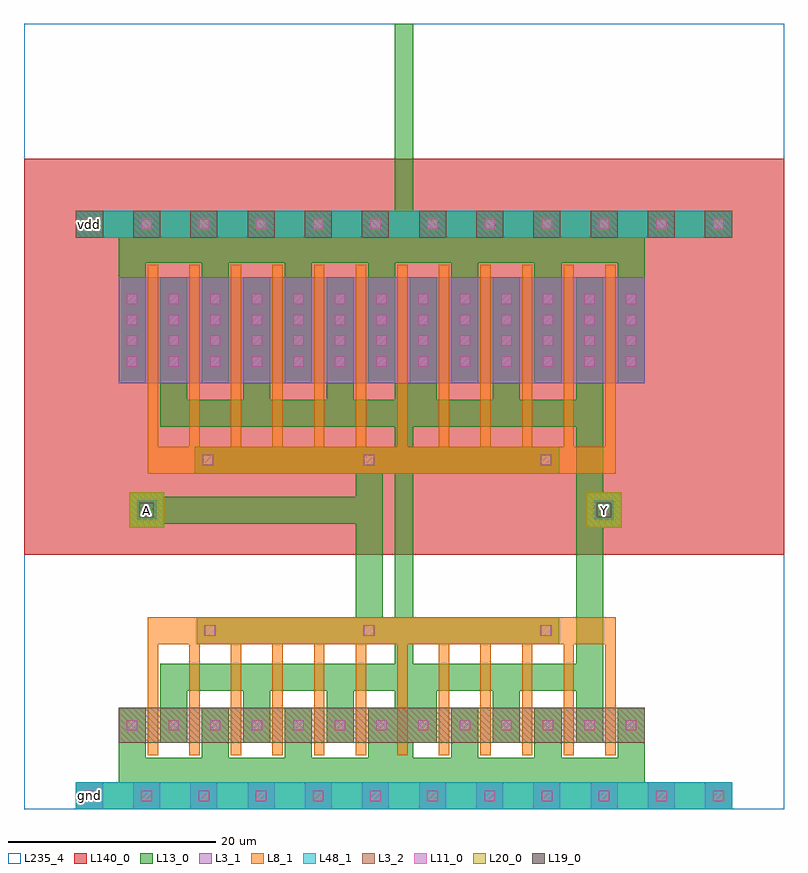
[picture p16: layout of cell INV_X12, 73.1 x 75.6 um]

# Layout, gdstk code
import gdstk
lib = gdstk.Library(unit=1e-6, precision=1e-09)
def R(c, l, rs):  # rectangles x0, y0, x1, y1
    for r in rs: c.add(gdstk.rectangle(r[:2], r[2:], *l))
def A(c, l, x, y, w, h, nx, ny, dx, dy):  # array of equal rectangles
    R(c, l, [(x+i*dx, y+j*dy, x+i*dx+w, y+j*dy+h) for i in range(nx) for j in range(ny)])
def P(c, l, *ps):  # polygons
    for p in ps: c.add(gdstk.Polygon(p, *l))
L3_1 = (3, 1)
L3_2 = (3, 2)
L8_1 = (8, 1)
L11_0 = (11, 0)
L13_0 = (13, 0)
L19_0 = (19, 0)
L20_0 = (20, 0)
L48_1 = (48, 1)
L140_0 = (140, 0)
L235_4 = (235, 4)

inv_x12 = lib.new_cell('INV_X12')
A(inv_x12, L3_1, 5, 0, 2.6, 2.6, 12, 1, 5.5, 0)
R(inv_x12, L3_1, [(9.1,41,59.7,51.2)])
A(inv_x12, L3_2, 5, 55, 2.6, 2.6, 12, 1, 5.5, 0)
R(inv_x12, L3_2, [(9.1,6.4,59.7,9.8)])
P(inv_x12, L8_1, [(11.9,5.2),(11.9,18.5),(56.9,18.5),(56.9,5.2),(55.9,5.2),(55.9,15.9),(52.9,15.9),(52.9,5.2),(51.9,5.2),(51.9,15.9),(48.9,15.9),(48.9,5.2),(47.9,5.2),(47.9,15.9),(44.9,15.9),(44.9,5.2),(43.9,5.2),(43.9,15.9),(40.9,15.9),(40.9,5.2),(39.9,5.2),(39.9,15.9),(36.9,15.9),(36.9,5.2),(35.9,5.2),(35.9,15.9),(32.9,15.9),(32.9,5.2),(31.9,5.2),(31.9,15.9),(28.9,15.9),(28.9,5.2),(27.9,5.2),(27.9,15.9),(24.9,15.9),(24.9,5.2),(23.9,5.2),(23.9,15.9),(20.9,15.9),(20.9,5.2),(19.9,5.2),(19.9,15.9),(16.9,15.9),(16.9,5.2),(15.9,5.2),(15.9,15.9),(12.9,15.9),(12.9,5.2)],
  [(11.9,32.3),(11.9,52.4),(12.9,52.4),(12.9,34.9),(15.9,34.9),(15.9,52.4),(16.9,52.4),(16.9,34.9),(19.9,34.9),(19.9,52.4),(20.9,52.4),(20.9,34.9),(23.9,34.9),(23.9,52.4),(24.9,52.4),(24.9,34.9),(27.9,34.9),(27.9,52.4),(28.9,52.4),(28.9,34.9),(31.9,34.9),(31.9,52.4),(32.9,52.4),(32.9,34.9),(35.9,34.9),(35.9,52.4),(36.9,52.4),(36.9,34.9),(39.9,34.9),(39.9,52.4),(40.9,52.4),(40.9,34.9),(43.9,34.9),(43.9,52.4),(44.9,52.4),(44.9,34.9),(47.9,34.9),(47.9,52.4),(48.9,52.4),(48.9,34.9),(51.9,34.9),(51.9,52.4),(52.9,52.4),(52.9,34.9),(55.9,34.9),(55.9,52.4),(56.9,52.4),(56.9,32.3)])
A(inv_x12, L11_0, 5.8, 0.8, 1, 1, 12, 2, 5.5, 55)
A(inv_x12, L11_0, 9.9, 7.6, 1, 1, 13, 2, 4, 35)
A(inv_x12, L11_0, 9.9, 44.6, 1, 1, 13, 3, 4, 2)
R(inv_x12, L11_0, [(17.4,16.7,18.4,17.7), (32.7,16.7,33.7,17.7), (49.7,16.7,50.7,17.7), (17.2,33.1,18.2,34.1), (32.7,33.1,33.7,34.1), (49.7,33.1,50.7,34.1)])
P(inv_x12, L13_0, [(5,0),(5,2.6),(9.1,2.6),(9.1,9.8),(11.7,9.8),(11.7,5),(17.1,5),(17.1,9.8),(19.7,9.8),(19.7,5),(25.1,5),(25.1,9.8),(27.7,9.8),(27.7,5),(33.1,5),(33.1,9.8),(35.65,9.8),(35.65,11.4),(31.7,11.4),(31.7,6.4),(29.1,6.4),(29.1,11.4),(23.7,11.4),(23.7,6.4),(21.1,6.4),(21.1,11.4),(15.7,11.4),(15.7,6.4),(13.1,6.4),(13.1,14),(35.65,14),(35.65,15.9),(16.6,15.9),(16.6,18.5),(31.9,18.5),(31.9,27.5),(13.5,27.5),(13.5,27.1),(10.1,27.1),(10.1,30.5),(13.5,30.5),(13.5,30.1),(31.9,30.1),(31.9,32.3),(34.5,32.3),(34.5,18.5),(35.65,18.5),(35.65,32.3),(16.4,32.3),(16.4,34.9),(35.65,34.9),(35.65,36.8),(37.45,36.8),(37.45,34.9),(51.5,34.9),(51.5,32.3),(37.45,32.3),(37.45,18.5),(51.5,18.5),(51.5,15.9),(37.45,15.9),(37.45,14),(53.1,14),(53.1,36.8),(13.1,36.8),(13.1,51.2),(15.7,51.2),(15.7,39.4),(21.1,39.4),(21.1,51.2),(23.7,51.2),(23.7,39.4),(29.1,39.4),(29.1,51.2),(31.7,51.2),(31.7,39.4),(35.65,39.4),(35.65,41),(33.1,41),(33.1,52.6),(27.7,52.6),(27.7,41),(25.1,41),(25.1,52.6),(19.7,52.6),(19.7,41),(17.1,41),(17.1,52.6),(11.7,52.6),(11.7,41),(9.1,41),(9.1,55),(5,55),(5,57.6),(35.65,57.6),(35.65,75.6),(37.45,75.6),(37.45,57.6),(68.1,57.6),(68.1,55),(59.7,55),(59.7,41),(57.1,41),(57.1,52.6),(51.7,52.6),(51.7,41),(49.1,41),(49.1,52.6),(43.7,52.6),(43.7,41),(41.1,41),(41.1,52.6),(35.7,52.6),(35.7,41),(37.1,41),(37.1,51.2),(39.7,51.2),(39.7,39.4),(45.1,39.4),(45.1,51.2),(47.7,51.2),(47.7,39.4),(53.1,39.4),(53.1,51.2),(55.7,51.2),(55.7,30.5),(57.5,30.5),(57.5,27.1),(55.7,27.1),(55.7,6.4),(53.1,6.4),(53.1,11.4),(47.7,11.4),(47.7,6.4),(45.1,6.4),(45.1,11.4),(39.7,11.4),(39.7,6.4),(37.45,6.4),(37.45,5),(41.1,5),(41.1,9.8),(43.7,9.8),(43.7,5),(49.1,5),(49.1,9.8),(51.7,9.8),(51.7,5),(57.1,5),(57.1,9.8),(59.7,9.8),(59.7,2.6),(68.1,2.6),(68.1,0)])
R(inv_x12, L19_0, [(11.1,28.1,12.5,29.5), (55.1,28.1,56.5,29.5)])
R(inv_x12, L20_0, [(10.1,27.1,13.5,30.5), (54.1,27.1,57.5,30.5)])
R(inv_x12, L48_1, [(5,0,68.1,2.6), (10.9,27.9,12.7,29.7), (54.9,27.9,56.7,29.7), (5,55,68.1,57.6)])
R(inv_x12, L140_0, [(0,24.5,73.1,62.6)])
R(inv_x12, L235_4, [(0,0,73.1,75.6)])
inv_x12.add(gdstk.Label('Y', (55.8,28.8), layer=48, texttype=0))
inv_x12.add(gdstk.Label('A', (11.8,28.8), layer=48, texttype=0))
inv_x12.add(gdstk.Label('vdd', (6.3,56.3), layer=48, texttype=0))
inv_x12.add(gdstk.Label('gnd', (6.3,1.3), layer=48, texttype=0))
inv_x12.add(gdstk.Label('A', (11.8,28.8), layer=49, texttype=0))
inv_x12.add(gdstk.Label('Y', (55.8,28.8), layer=49, texttype=0))

lib.write_gds('INV_X12.gds')
